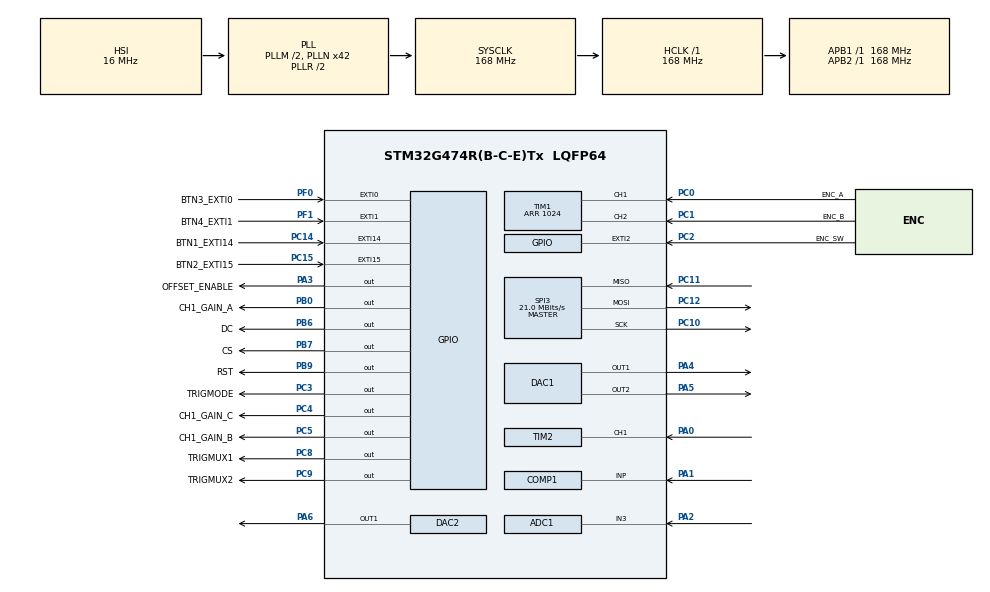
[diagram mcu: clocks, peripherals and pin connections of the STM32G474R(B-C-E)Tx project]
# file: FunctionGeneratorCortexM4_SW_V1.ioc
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ADC1.Channel-0\#ChannelRegularConversion=ADC_CHANNEL_3
ADC1.ClockPrescaler=ADC_CLOCK_ASYNC_DIV1
ADC1.ContinuousConvMode=ENABLE
ADC1.DMAContinuousRequests=ENABLE
ADC1.NbrOfConversionFlag=1
ADC1.OffsetNumber-0\#ChannelRegularConversion=ADC_OFFSET_NONE
ADC1.Overrun=ADC_OVR_DATA_OVERWRITTEN
ADC1.Rank-0\#ChannelRegularConversion=1
ADC1.SamplingTime-0\#ChannelRegularConversion=ADC_SAMPLETIME_2CYCLES_5
ADC1.master=1
COMP1.Hysteresis=COMP_HYSTERESIS_HIGH
COMP1.TriggerMode=COMP_TRIGGERMODE_IT_RISING_FALLING
DAC1.DAC_Channel-DAC_OUT2=DAC_CHANNEL_2
DAC1.DAC_HighFrequency_OUT1-DAC_OUT1=DAC_HIGH_FREQUENCY_INTERFACE_MODE_ABOVE_80MHZ
DAC1.DAC_OutputBuffer-DAC_OUT2=DAC_OUTPUTBUFFER_ENABLE
DAC1.DAC_SampleAndHold-DAC_OUT2=DAC_SAMPLEANDHOLD_DISABLE
DAC1.DAC_Trigger_OUT1-DAC_OUT1=DAC_TRIGGER_T8_TRGO
DAC1.DAC_Trigger_OUT2-DAC_OUT2=DAC_TRIGGER_NONE
DAC2.DAC_HighFrequency_OUT1-DAC_OUT1=DAC_HIGH_FREQUENCY_INTERFACE_MODE_ABOVE_80MHZ
DAC2.DAC_Trigger_OUT1-DAC_OUT1=DAC_TRIGGER_T8_TRGO
Dma.ADC1.0.Direction=DMA_PERIPH_TO_MEMORY
Dma.ADC1.0.EventEnable=DISABLE
Dma.ADC1.0.Instance=DMA1_Channel1
Dma.ADC1.0.MemDataAlignment=DMA_MDATAALIGN_WORD
Dma.ADC1.0.MemInc=DMA_MINC_ENABLE
Dma.ADC1.0.Mode=DMA_CIRCULAR
Dma.ADC1.0.PeriphDataAlignment=DMA_PDATAALIGN_WORD
Dma.ADC1.0.PeriphInc=DMA_PINC_DISABLE
Dma.ADC1.0.Polarity=HAL_DMAMUX_REQ_GEN_RISING
Dma.ADC1.0.Priority=DMA_PRIORITY_LOW
Dma.ADC1.0.RequestNumber=1
Dma.ADC1.0.SignalID=NONE
Dma.ADC1.0.SyncEnable=DISABLE
Dma.ADC1.0.SyncPolarity=HAL_DMAMUX_SYNC_NO_EVENT
Dma.ADC1.0.SyncRequestNumber=1
Dma.ADC1.0.SyncSignalID=NONE
Dma.DAC1_CH1.2.Direction=DMA_MEMORY_TO_PERIPH
Dma.DAC1_CH1.2.EventEnable=DISABLE
Dma.DAC1_CH1.2.Instance=DMA1_Channel2
Dma.DAC1_CH1.2.MemDataAlignment=DMA_MDATAALIGN_WORD
Dma.DAC1_CH1.2.MemInc=DMA_MINC_ENABLE
Dma.DAC1_CH1.2.Mode=DMA_CIRCULAR
Dma.DAC1_CH1.2.PeriphDataAlignment=DMA_PDATAALIGN_WORD
Dma.DAC1_CH1.2.PeriphInc=DMA_PINC_DISABLE
Dma.DAC1_CH1.2.Polarity=HAL_DMAMUX_REQ_GEN_RISING
Dma.DAC1_CH1.2.Priority=DMA_PRIORITY_LOW
Dma.DAC1_CH1.2.RequestNumber=1
Dma.DAC1_CH1.2.SignalID=NONE
Dma.DAC1_CH1.2.SyncEnable=DISABLE
Dma.DAC1_CH1.2.SyncPolarity=HAL_DMAMUX_SYNC_NO_EVENT
Dma.DAC1_CH1.2.SyncRequestNumber=1
Dma.DAC1_CH1.2.SyncSignalID=NONE
Dma.DAC2_CH1.1.Direction=DMA_MEMORY_TO_PERIPH
Dma.DAC2_CH1.1.EventEnable=DISABLE
Dma.DAC2_CH1.1.Instance=DMA1_Channel3
Dma.DAC2_CH1.1.MemDataAlignment=DMA_MDATAALIGN_WORD
Dma.DAC2_CH1.1.MemInc=DMA_MINC_ENABLE
Dma.DAC2_CH1.1.Mode=DMA_CIRCULAR
Dma.DAC2_CH1.1.PeriphDataAlignment=DMA_PDATAALIGN_WORD
Dma.DAC2_CH1.1.PeriphInc=DMA_PINC_DISABLE
Dma.DAC2_CH1.1.Polarity=HAL_DMAMUX_REQ_GEN_RISING
Dma.DAC2_CH1.1.Priority=DMA_PRIORITY_LOW
Dma.DAC2_CH1.1.RequestNumber=1
Dma.DAC2_CH1.1.SignalID=NONE
Dma.DAC2_CH1.1.SyncEnable=DISABLE
Dma.DAC2_CH1.1.SyncPolarity=HAL_DMAMUX_SYNC_NO_EVENT
Dma.DAC2_CH1.1.SyncRequestNumber=1
Dma.DAC2_CH1.1.SyncSignalID=NONE
Dma.Request0=ADC1
Dma.Request1=DAC2_CH1
Dma.Request2=DAC1_CH1
Dma.Request3=TIM2_CH1
Dma.TIM2_CH1.3.Direction=DMA_PERIPH_TO_MEMORY
Dma.TIM2_CH1.3.EventEnable=DISABLE
Dma.TIM2_CH1.3.Instance=DMA1_Channel4
Dma.TIM2_CH1.3.MemDataAlignment=DMA_MDATAALIGN_WORD
Dma.TIM2_CH1.3.MemInc=DMA_MINC_ENABLE
Dma.TIM2_CH1.3.Mode=DMA_CIRCULAR
Dma.TIM2_CH1.3.PeriphDataAlignment=DMA_PDATAALIGN_WORD
Dma.TIM2_CH1.3.PeriphInc=DMA_PINC_DISABLE
Dma.TIM2_CH1.3.Polarity=HAL_DMAMUX_REQ_GEN_RISING
Dma.TIM2_CH1.3.Priority=DMA_PRIORITY_LOW
Dma.TIM2_CH1.3.RequestNumber=1
Dma.TIM2_CH1.3.SignalID=NONE
Dma.TIM2_CH1.3.SyncEnable=DISABLE
Dma.TIM2_CH1.3.SyncPolarity=HAL_DMAMUX_SYNC_NO_EVENT
Dma.TIM2_CH1.3.SyncRequestNumber=1
Dma.TIM2_CH1.3.SyncSignalID=NONE
Mcu.Family=STM32G4
Mcu.Name=STM32G474R(B-C-E)Tx
Mcu.Package=LQFP64
NVIC.COMP1_2_3_IRQn=true\:0\:0\:false\:false\:true\:false\:true
NVIC.DMA1_Channel1_IRQn=true\:1\:0\:true\:false\:true\:false\:true
NVIC.DMA1_Channel2_IRQn=true\:0\:0\:false\:false\:true\:false\:true
NVIC.DMA1_Channel3_IRQn=true\:0\:0\:false\:false\:true\:false\:true
NVIC.DMA1_Channel4_IRQn=true\:0\:0\:false\:false\:true\:false\:true
NVIC.EXTI0_IRQn=true\:0\:0\:false\:false\:true\:true\:true
NVIC.EXTI15_10_IRQn=true\:0\:0\:false\:false\:true\:true\:true
NVIC.EXTI1_IRQn=true\:0\:0\:false\:false\:true\:true\:true
NVIC.EXTI2_IRQn=true\:0\:0\:false\:false\:true\:true\:true
NVIC.PriorityGroup=NVIC_PRIORITYGROUP_4
NVIC.TIM1_BRK_TIM15_IRQn=true\:0\:0\:true\:false\:true\:true\:true
NVIC.TIM1_TRG_COM_TIM17_IRQn=true\:1\:0\:true\:false\:true\:true\:true
NVIC.TIM3_IRQn=true\:0\:0\:false\:false\:true\:true\:true
NVIC.TIM5_IRQn=true\:2\:0\:true\:false\:true\:true\:true
PA0.Signal=S_TIM2_CH1
PA1.Mode=INP
PA1.Signal=COMP1_INP
PA13.Mode=Trace_Asynchronous_SW
PA13.Signal=SYS_JTMS-SWDIO
PA14.Mode=Trace_Asynchronous_SW
PA14.Signal=SYS_JTCK-SWCLK
PA2.Mode=IN3-Single-Ended
PA2.Signal=ADC1_IN3
PA3.GPIO_Label=OFFSET_ENABLE
PA3.Signal=GPIO_Output
PA4.Signal=COMP_DAC11_group
PA5.Signal=COMP_DAC12_group
PA6.Signal=COMP_DAC21_group
PB0.GPIO_Label=CH1_GAIN_A
PB0.Signal=GPIO_Output
PB3.Mode=Trace_Asynchronous_SW
PB3.Signal=SYS_JTDO-SWO
PB6.GPIO_Label=DC
PB6.GPIO_Speed=GPIO_SPEED_FREQ_VERY_HIGH
PB6.Signal=GPIO_Output
PB7.GPIO_Label=CS
PB7.GPIO_Speed=GPIO_SPEED_FREQ_VERY_HIGH
PB7.Signal=GPIO_Output
PB9.GPIO_Label=RST
PB9.GPIO_Speed=GPIO_SPEED_FREQ_VERY_HIGH
PB9.Signal=GPIO_Output
PC0.GPIO_Label=ENC_A
PC0.Signal=S_TIM1_CH1
PC1.GPIO_Label=ENC_B
PC1.Signal=S_TIM1_CH2
PC10.Mode=Full_Duplex_Master
PC10.Signal=SPI3_SCK
PC11.Mode=Full_Duplex_Master
PC11.Signal=SPI3_MISO
PC12.Mode=Full_Duplex_Master
PC12.Signal=SPI3_MOSI
PC14-OSC32_IN.GPIO_Label=BTN1_EXTI14
PC14-OSC32_IN.GPIO_ModeDefaultEXTI=GPIO_MODE_IT_FALLING
PC14-OSC32_IN.GPIO_PuPd=GPIO_PULLUP
PC14-OSC32_IN.Signal=GPXTI14
PC15-OSC32_OUT.GPIO_Label=BTN2_EXTI15
PC15-OSC32_OUT.GPIO_ModeDefaultEXTI=GPIO_MODE_IT_FALLING
PC15-OSC32_OUT.GPIO_PuPd=GPIO_PULLUP
PC15-OSC32_OUT.Signal=GPXTI15
PC2.GPIO_Label=ENC_SW
PC2.GPIO_ModeDefaultEXTI=GPIO_MODE_IT_FALLING
PC2.GPIO_PuPd=GPIO_PULLUP
PC2.Signal=GPXTI2
PC3.GPIO_Label=TRIGMODE
PC3.GPIO_PuPd=GPIO_PULLDOWN
PC3.Signal=GPIO_Output
PC4.GPIO_Label=CH1_GAIN_C
PC4.Signal=GPIO_Output
PC5.GPIO_Label=CH1_GAIN_B
PC5.Signal=GPIO_Output
PC8.GPIO_Label=TRIGMUX1
PC8.Signal=GPIO_Output
PC9.GPIO_Label=TRIGMUX2
PC9.Signal=GPIO_Output
PF0-OSC_IN.GPIO_Label=BTN3_EXTI0
PF0-OSC_IN.GPIO_ModeDefaultEXTI=GPIO_MODE_IT_FALLING
PF0-OSC_IN.GPIO_PuPd=GPIO_PULLUP
PF0-OSC_IN.Signal=GPXTI0
PF1-OSC_OUT.GPIO_Label=BTN4_EXTI1
PF1-OSC_OUT.GPIO_ModeDefaultEXTI=GPIO_MODE_IT_FALLING
PF1-OSC_OUT.GPIO_PuPd=GPIO_PULLUP
PF1-OSC_OUT.Signal=GPXTI1
ProjectManager.HeapSize=0x200
ProjectManager.StackSize=0x400
ProjectManager.TargetToolchain=STM32CubeIDE
RCC.ADC12CLockSelection=RCC_ADC12CLKSOURCE_PLL
RCC.ADC12Freq_Value=168000000
RCC.ADC345Freq_Value=168000000
RCC.AHBFreq_Value=168000000
RCC.APB1Freq_Value=168000000
RCC.APB1TimFreq_Value=168000000
RCC.APB2Freq_Value=168000000
RCC.APB2TimFreq_Value=168000000
RCC.CK48CLockSelection=RCC_USBCLKSOURCE_HSI48
RCC.CortexFreq_Value=168000000
RCC.EXTERNAL_CLOCK_VALUE=12288000
RCC.HCLKFreq_Value=168000000
RCC.HSE_VALUE=8000000
RCC.HSI48_VALUE=48000000
RCC.HSI_VALUE=16000000
RCC.LSE_VALUE=32768
RCC.PLLM=RCC_PLLM_DIV2
RCC.PLLN=42
RCC.PLLQ=RCC_PLLQ_DIV4
RCC.SYSCLKFreq_VALUE=168000000
RCC.SYSCLKSource=RCC_SYSCLKSOURCE_PLLCLK
RCC.USBFreq_Value=48000000
RCC.VCOOutputFreq_Value=336000000
SH.COMP_DAC11_group.0=DAC1_OUT1,DAC_OUT1
SH.COMP_DAC12_group.0=DAC1_OUT2,DAC_OUT2
SH.COMP_DAC21_group.0=DAC2_OUT1,DAC_OUT1
SH.S_TIM1_CH1.0=TIM1_CH1,Encoder_Interface
SH.S_TIM1_CH2.0=TIM1_CH2,Encoder_Interface
SH.S_TIM2_CH1.0=TIM2_CH1,Input_Capture1_from_TI1
SH.S_TIM2_CH1.1=TIM2_CH1,TriggerSource_TI1FP1
SPI3.BaudRatePrescaler=SPI_BAUDRATEPRESCALER_8
SPI3.CalculateBaudRate=21.0 MBits/s
SPI3.DataSize=SPI_DATASIZE_8BIT
SPI3.Direction=SPI_DIRECTION_2LINES
SPI3.Mode=SPI_MODE_MASTER
SPI3.VirtualType=VM_MASTER
TIM1.AutoReloadPreload=TIM_AUTORELOAD_PRELOAD_ENABLE
TIM1.CounterMode=TIM_COUNTERMODE_CENTERALIGNED3
TIM1.EncoderMode=TIM_ENCODERMODE_TI2
TIM1.PeriodNoDither=1024
TIM1.TIM_MasterOutputTrigger=TIM_TRGO_UPDATE
TIM15.AutoReloadPreload=TIM_AUTORELOAD_PRELOAD_DISABLE
TIM15.PeriodNoDither=1024
TIM15.Prescaler=1024
TIM16.AutoReloadPreload=TIM_AUTORELOAD_PRELOAD_DISABLE
TIM16.ClockDivision=TIM_CLOCKDIVISION_DIV1
TIM16.PeriodNoDither=65535
TIM16.Prescaler=65535
TIM17.AutoReloadPreload=TIM_AUTORELOAD_PRELOAD_DISABLE
TIM17.PeriodNoDither=1024
TIM17.Prescaler=1024
TIM2.AutoReloadPreload=TIM_AUTORELOAD_PRELOAD_ENABLE
TIM2.Channel-Input_Capture1_from_TI1=TIM_CHANNEL_1
TIM2.ICPrescaler-Input_Capture1_from_TI1=TIM_ICPSC_DIV1
TIM2.PeriodNoDither=65535
TIM2.Prescaler=128
TIM2.TIM_MasterOutputTrigger=TIM_TRGO_UPDATE
TIM3.AutoReloadPreload=TIM_AUTORELOAD_PRELOAD_ENABLE
TIM3.ClockDivision=TIM_CLOCKDIVISION_DIV4
TIM3.CounterMode=TIM_COUNTERMODE_DOWN
TIM3.PeriodNoDither=1
TIM3.Prescaler=0
TIM3.TIM_MasterOutputTrigger=TIM_TRGO_UPDATE
TIM5.AutoReloadPreload=TIM_AUTORELOAD_PRELOAD_DISABLE
TIM5.ClockDivision=TIM_CLOCKDIVISION_DIV1
TIM5.PeriodNoDither=1024
TIM5.Prescaler=0
TIM8.AutoReloadPreload=TIM_AUTORELOAD_PRELOAD_ENABLE
TIM8.PeriodNoDither=1
TIM8.TIM_MasterOutputTrigger=TIM_TRGO_UPDATE
VP_COMP1_VS_VREFINT.Mode=VREFINT
VP_RNG_VS_RNG.Mode=RNG_Activate
VP_SYS_VS_DBSignals.Mode=DisableDeadBatterySignals
VP_TIM15_VS_ClockSourceINT.Mode=Internal
VP_TIM16_VS_ClockSourceINT.Mode=Enable_Timer
VP_TIM17_VS_ClockSourceINT.Mode=Enable_Timer
VP_TIM2_VS_ControllerModeReset.Mode=Reset Mode
VP_TIM3_VS_ClockSourceINT.Mode=Internal
VP_TIM5_VS_ClockSourceINT.Mode=Internal
VP_TIM8_VS_ClockSourceINT.Mode=Internal
board=custom

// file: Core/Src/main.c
/* USER CODE BEGIN Header */
/**
  ******************************************************************************
  * @file           : main.c
  * @brief          : Main program body
  ******************************************************************************
  * @attention
  *
  * <h2><center>&copy; Copyright (c) 2020 STMicroelectronics.
  * All rights reserved.</center></h2>
  *
  * This software component is licensed by ST under BSD 3-Clause license,
  * the "License"; You may not use this file except in compliance with the
  * License. You may obtain a copy of the License at:
  *                        opensource.org/licenses/BSD-3-Clause
  *
  ******************************************************************************
  */
/* USER CODE END Header */

#include "main.h"
#include "adc.h"
#include "comp.h"
#include "dac.h"
#include "dma.h"
#include "rng.h"
#include "spi.h"
#include "tim.h"
#include "gpio.h"

/* USER CODE BEGIN Includes */
#include <stdio.h>
#include "funcgen.h"
#include "ILI9341_STM32_Driver.h"
#include "ILI9341_GFX.h"

#include "DisplayManager.h"
#include "EventManager.h"
#include "SignalManager.h"
#include "InterruptManager.h"

//#include "GainOutput.h"

// python-generated wave lut
#include "pysine.h"
#include "pysquare.h"
#include "pyunitimpulse.h"
#include "pysaw.h"
#include "pysaw_rev.h"
#include "pytriangle.h"
/* USER CODE END Includes */

/* USER CODE BEGIN PD */
//#define DISABLE_ALL_TIMERS  // for debug use only!
/* USER CODE END PD */

/* USER CODE BEGIN PV */

uint8_t sin1_MAX_OUTPUT_ARR = 120;

/* USER CODE END PV */

void SystemClock_Config(void);

/* USER CODE BEGIN 0 */

// redirect printf to SWV
int _write(int file, char *ptr, int len)
{
  int i=0;
  for(i=0 ; i<len ; i++)
    ITM_SendChar((*ptr++));
  return len;
}

/* USER CODE END 0 */

int main(void)
{

  /* MCU Configuration--------------------------------------------------------*/

  /* Reset of all peripherals, Initializes the Flash interface and the Systick. */
  HAL_Init();

  /* Configure the system clock */
  SystemClock_Config();

  /* Initialize all configured peripherals */
  MX_GPIO_Init();
  MX_DMA_Init();
  MX_DAC1_Init();
  MX_ADC1_Init();
  MX_COMP1_Init();
  MX_SPI3_Init();
  MX_RNG_Init();
  MX_TIM1_Init();
  MX_TIM8_Init();
  MX_TIM16_Init();
  MX_TIM15_Init();
  MX_TIM5_Init();
  MX_TIM3_Init();
  MX_DAC2_Init();
  MX_TIM17_Init();
  MX_TIM2_Init();
  /* USER CODE BEGIN 2 */

  SM_Init();

  HAL_TIM_Base_Start_IT(&htim17);

  // http://www.ti.com/lit/ds/symlink/ts5a3357.pdf
  HAL_GPIO_WritePin(TRIGMUX1_GPIO_Port, TRIGMUX1_Pin, GPIO_PIN_RESET);	// TS5A3357 Pin6
  HAL_GPIO_WritePin(TRIGMUX2_GPIO_Port, TRIGMUX2_Pin, GPIO_PIN_RESET);	// TS5A3357 Pin5

#ifndef DISABLE_ALL_TIMERS
  // encoder input
  HAL_TIM_Base_Start(&htim1);		// enable encoder timer
  //TIM1->DIER |= TIM_DIER_IDXIE;		// enable index interrupts

#endif	//DISABLE_ALL_TIMERS

  TIM6->PSC = 65535;
  TIM6->ARR = 65535;

  // TFT lib enable
  DM_Init();
  DM_PostInit();

  // Intialise interrupt manager
  IM_Init();

  /* USER CODE END 2 */

  /* Infinite loop */
  while (1)
  {

  }
}

void SystemClock_Config(void)
{
  RCC_OscInitTypeDef RCC_OscInitStruct = {0};
  RCC_ClkInitTypeDef RCC_ClkInitStruct = {0};
  RCC_PeriphCLKInitTypeDef PeriphClkInit = {0};

  /** Configure the main internal regulator output voltage
  */
  HAL_PWREx_ControlVoltageScaling(PWR_REGULATOR_VOLTAGE_SCALE1_BOOST);
  /** Initializes the CPU, AHB and APB busses clocks
  */
  RCC_OscInitStruct.OscillatorType = RCC_OSCILLATORTYPE_HSI|RCC_OSCILLATORTYPE_HSI48;
  RCC_OscInitStruct.HSIState = RCC_HSI_ON;
  RCC_OscInitStruct.HSICalibrationValue = RCC_HSICALIBRATION_DEFAULT;
  RCC_OscInitStruct.HSI48State = RCC_HSI48_ON;
  RCC_OscInitStruct.PLL.PLLState = RCC_PLL_ON;
  RCC_OscInitStruct.PLL.PLLSource = RCC_PLLSOURCE_HSI;
  RCC_OscInitStruct.PLL.PLLM = RCC_PLLM_DIV2;
  RCC_OscInitStruct.PLL.PLLN = 42;
  RCC_OscInitStruct.PLL.PLLP = RCC_PLLP_DIV2;
  RCC_OscInitStruct.PLL.PLLQ = RCC_PLLQ_DIV4;
  RCC_OscInitStruct.PLL.PLLR = RCC_PLLR_DIV2;
  if (HAL_RCC_OscConfig(&RCC_OscInitStruct) != HAL_OK)
  {
    Error_Handler();
  }
  /** Initializes the CPU, AHB and APB busses clocks
  */
  RCC_ClkInitStruct.ClockType = RCC_CLOCKTYPE_HCLK|RCC_CLOCKTYPE_SYSCLK
                              |RCC_CLOCKTYPE_PCLK1|RCC_CLOCKTYPE_PCLK2;
  RCC_ClkInitStruct.SYSCLKSource = RCC_SYSCLKSOURCE_PLLCLK;
  RCC_ClkInitStruct.AHBCLKDivider = RCC_SYSCLK_DIV1;
  RCC_ClkInitStruct.APB1CLKDivider = RCC_HCLK_DIV1;
  RCC_ClkInitStruct.APB2CLKDivider = RCC_HCLK_DIV1;

  if (HAL_RCC_ClockConfig(&RCC_ClkInitStruct, FLASH_LATENCY_8) != HAL_OK)
  {
    Error_Handler();
  }
  /** Initializes the peripherals clocks
  */
  PeriphClkInit.PeriphClockSelection = RCC_PERIPHCLK_RNG|RCC_PERIPHCLK_ADC12;
  PeriphClkInit.RngClockSelection = RCC_RNGCLKSOURCE_HSI48;
  PeriphClkInit.Adc12ClockSelection = RCC_ADC12CLKSOURCE_PLL;
  if (HAL_RCCEx_PeriphCLKConfig(&PeriphClkInit) != HAL_OK)
  {
    Error_Handler();
  }
}

void Error_Handler(void)
{
}

/************************ (C) COPYRIGHT STMicroelectronics *****END OF FILE****/
